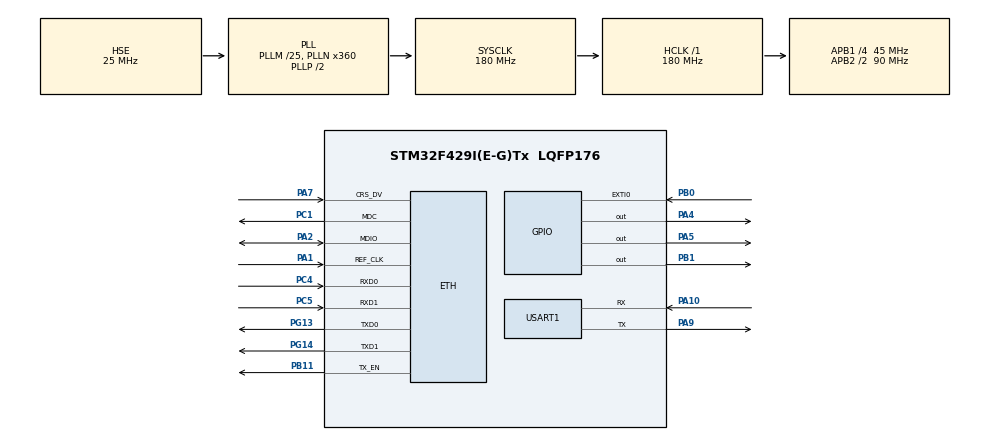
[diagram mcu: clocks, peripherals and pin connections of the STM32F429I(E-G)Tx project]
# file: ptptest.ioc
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ETH.MACAddr=00\:80\:E1\:00\:00\:01
ETH.MediaInterface=ETH_MEDIA_INTERFACE_RMII
ETH.PhyAddress=0
FREERTOS.Tasks01=startTask,-2,128,StartTask,Default,NULL,Dynamic,NULL,NULL
FREERTOS.Timers01=myTimer01,Callback01,osTimerPeriodic,Default,NULL,Dynamic,NULL
FREERTOS.configMAX_TASK_NAME_LEN=25
FREERTOS.configTOTAL_HEAP_SIZE=20480
FREERTOS.configUSE_COUNTING_SEMAPHORES=0
FREERTOS.configUSE_TIMERS=1
LWIP.LWIP_DNS=1
LWIP.Version=v2.0.3_Cube
Mcu.Family=STM32F4
Mcu.Name=STM32F429I(E-G)Tx
Mcu.Package=LQFP176
NVIC.ETH_IRQn=true\:5\:0\:false\:false\:true\:true\:false\:true
NVIC.EXTI0_IRQn=true\:0\:0\:false\:false\:true\:false\:true\:true
NVIC.PriorityGroup=NVIC_PRIORITYGROUP_4
NVIC.TIM1_UP_TIM10_IRQn=true\:0\:0\:false\:false\:true\:false\:false\:true
NVIC.TimeBase=TIM1_UP_TIM10_IRQn
NVIC.TimeBaseIP=TIM1
PA1.Mode=RMII
PA1.Signal=ETH_REF_CLK
PA10.Mode=Asynchronous
PA10.Signal=USART1_RX
PA2.Mode=RMII
PA2.Signal=ETH_MDIO
PA4.Signal=GPIO_Output
PA5.Signal=GPIO_Output
PA7.Mode=RMII
PA7.Signal=ETH_CRS_DV
PA9.Mode=Asynchronous
PA9.Signal=USART1_TX
PB0.Signal=GPXTI0
PB1.Signal=GPIO_Output
PB11.Mode=RMII
PB11.Signal=ETH_TX_EN
PC1.Mode=RMII
PC1.Signal=ETH_MDC
PC14/OSC32_IN.Mode=LSE-External-Oscillator
PC14/OSC32_IN.Signal=RCC_OSC32_IN
PC15/OSC32_OUT.Mode=LSE-External-Oscillator
PC15/OSC32_OUT.Signal=RCC_OSC32_OUT
PC4.Mode=RMII
PC4.Signal=ETH_RXD0
PC5.Mode=RMII
PC5.Signal=ETH_RXD1
PG13.Mode=RMII
PG13.Signal=ETH_TXD0
PG14.Mode=RMII
PG14.Signal=ETH_TXD1
PH0/OSC_IN.Mode=HSE-External-Oscillator
PH0/OSC_IN.Signal=RCC_OSC_IN
PH1/OSC_OUT.Mode=HSE-External-Oscillator
PH1/OSC_OUT.Signal=RCC_OSC_OUT
ProjectManager.HeapSize=0x2000
ProjectManager.StackSize=0x4000
ProjectManager.TargetToolchain=EWARM V8
RCC.48MHZClocksFreq_Value=90000000
RCC.AHBFreq_Value=180000000
RCC.APB1CLKDivider=RCC_HCLK_DIV4
RCC.APB1Freq_Value=45000000
RCC.APB1TimFreq_Value=90000000
RCC.APB2CLKDivider=RCC_HCLK_DIV2
RCC.APB2Freq_Value=90000000
RCC.APB2TimFreq_Value=180000000
RCC.CortexFreq_Value=180000000
RCC.HCLKFreq_Value=180000000
RCC.HSE_VALUE=25000000
RCC.HSI_VALUE=16000000
RCC.PLLM=25
RCC.PLLN=360
RCC.PLLSourceVirtual=RCC_PLLSOURCE_HSE
RCC.SYSCLKFreq_VALUE=180000000
RCC.SYSCLKSource=RCC_SYSCLKSOURCE_PLLCLK
RCC.VCOOutputFreq_Value=360000000
USART1.VirtualMode=VM_ASYNC
VP_FREERTOS_VS_CMSIS_V1.Mode=CMSIS_V1
VP_LWIP_VS_Enabled.Mode=Enabled
VP_SYS_VS_tim1.Mode=TIM1
board=custom

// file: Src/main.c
/* USER CODE BEGIN Header */
/**
  ******************************************************************************
  * @file           : main.c
  * @brief          : Main program body
  ******************************************************************************
  * @attention
  *
  * <h2><center>&copy; Copyright (c) 2019 STMicroelectronics.
  * All rights reserved.</center></h2>
  *
  * This software component is licensed by ST under Ultimate Liberty license
  * SLA0044, the "License"; You may not use this file except in compliance with
  * the License. You may obtain a copy of the License at:
  *                             www.st.com/SLA0044
  *
  ******************************************************************************
  */
/* USER CODE END Header */

#include "main.h"
#include "cmsis_os.h"
#include "lwip.h"

/* USER CODE BEGIN Includes */
//#include <stdio.h>
#include "tcp_client.h"
#include "ptpd.h"
/* USER CODE END Includes */

UART_HandleTypeDef huart1;

osThreadId startTaskHandle;
osTimerId myTimer01Handle;
/* USER CODE BEGIN PV */
osThreadId TCPTaskHandle;
/* USER CODE END PV */

void SystemClock_Config(void);
static void MX_GPIO_Init(void);
static void MX_USART1_UART_Init(void);
void StartTask(void const * argument);
void Callback01(void const * argument);

/* USER CODE BEGIN 0 */
#ifdef __GNUC__
#define PUTCHAR_PROTOTYPE int __io_putchar(int ch)
#else
#define PUTCHAR_PROTOTYPE int fputc(int ch, FILE *f)
#endif
PUTCHAR_PROTOTYPE
{
    //HAL_UART_Transmit(&huart1 , (uint8_t *)&ch, 1 , 0xffff);
	while ((USART1->SR & 0X40) == 0);
    USART1->DR = (uint8_t) ch;
    return ch;
}
/* USER CODE END 0 */

int main(void)
{

  /* MCU Configuration--------------------------------------------------------*/

  /* Reset of all peripherals, Initializes the Flash interface and the Systick. */
  HAL_Init();

  /* Configure the system clock */
  SystemClock_Config();

  /* Initialize all configured peripherals */
  MX_GPIO_Init();
  MX_USART1_UART_Init();

  /* Create the timer(s) */
  /* definition and creation of myTimer01 */
  osTimerDef(myTimer01, Callback01);
  myTimer01Handle = osTimerCreate(osTimer(myTimer01), osTimerPeriodic, NULL);

  /* Create the thread(s) */
  /* definition and creation of startTask */
  osThreadDef(startTask, StartTask, osPriorityLow, 0, 128);
  startTaskHandle = osThreadCreate(osThread(startTask), NULL);

  /* Start scheduler */
  osKernelStart();

  /* We should never get here as control is now taken by the scheduler */

  /* Infinite loop */
  while (1)
  {

  }
}

void SystemClock_Config(void)
{
  RCC_OscInitTypeDef RCC_OscInitStruct = {0};
  RCC_ClkInitTypeDef RCC_ClkInitStruct = {0};

  /** Configure the main internal regulator output voltage
  */
  __HAL_RCC_PWR_CLK_ENABLE();
  __HAL_PWR_VOLTAGESCALING_CONFIG(PWR_REGULATOR_VOLTAGE_SCALE1);
  /** Initializes the CPU, AHB and APB busses clocks
  */
  RCC_OscInitStruct.OscillatorType = RCC_OSCILLATORTYPE_HSE;
  RCC_OscInitStruct.HSEState = RCC_HSE_ON;
  RCC_OscInitStruct.PLL.PLLState = RCC_PLL_ON;
  RCC_OscInitStruct.PLL.PLLSource = RCC_PLLSOURCE_HSE;
  RCC_OscInitStruct.PLL.PLLM = 25;
  RCC_OscInitStruct.PLL.PLLN = 360;
  RCC_OscInitStruct.PLL.PLLP = RCC_PLLP_DIV2;
  RCC_OscInitStruct.PLL.PLLQ = 4;
  if (HAL_RCC_OscConfig(&RCC_OscInitStruct) != HAL_OK)
  {
    Error_Handler();
  }
  /** Activate the Over-Drive mode
  */
  if (HAL_PWREx_EnableOverDrive() != HAL_OK)
  {
    Error_Handler();
  }
  /** Initializes the CPU, AHB and APB busses clocks
  */
  RCC_ClkInitStruct.ClockType = RCC_CLOCKTYPE_HCLK|RCC_CLOCKTYPE_SYSCLK
                              |RCC_CLOCKTYPE_PCLK1|RCC_CLOCKTYPE_PCLK2;
  RCC_ClkInitStruct.SYSCLKSource = RCC_SYSCLKSOURCE_PLLCLK;
  RCC_ClkInitStruct.AHBCLKDivider = RCC_SYSCLK_DIV1;
  RCC_ClkInitStruct.APB1CLKDivider = RCC_HCLK_DIV4;
  RCC_ClkInitStruct.APB2CLKDivider = RCC_HCLK_DIV2;

  if (HAL_RCC_ClockConfig(&RCC_ClkInitStruct, FLASH_LATENCY_5) != HAL_OK)
  {
    Error_Handler();
  }
}

static void MX_USART1_UART_Init(void)
{

  huart1.Instance = USART1;
  huart1.Init.BaudRate = 921600;
  huart1.Init.WordLength = UART_WORDLENGTH_8B;
  huart1.Init.StopBits = UART_STOPBITS_1;
  huart1.Init.Parity = UART_PARITY_NONE;
  huart1.Init.Mode = UART_MODE_TX_RX;
  huart1.Init.HwFlowCtl = UART_HWCONTROL_NONE;
  huart1.Init.OverSampling = UART_OVERSAMPLING_16;
  if (HAL_UART_Init(&huart1) != HAL_OK)
  {
    Error_Handler();
  }

}

static void MX_GPIO_Init(void)
{
  GPIO_InitTypeDef GPIO_InitStruct = {0};

  /* GPIO Ports Clock Enable */
  __HAL_RCC_GPIOC_CLK_ENABLE();
  __HAL_RCC_GPIOH_CLK_ENABLE();
  __HAL_RCC_GPIOA_CLK_ENABLE();
  __HAL_RCC_GPIOB_CLK_ENABLE();
  __HAL_RCC_GPIOG_CLK_ENABLE();

  /*Configure GPIO pin Output Level */
  HAL_GPIO_WritePin(GPIOA, GPIO_PIN_4|GPIO_PIN_5, GPIO_PIN_RESET);

  /*Configure GPIO pin Output Level */
  HAL_GPIO_WritePin(GPIOB, GPIO_PIN_1, GPIO_PIN_RESET);

  /*Configure GPIO pins : PA4 PA5 */
  GPIO_InitStruct.Pin = GPIO_PIN_4|GPIO_PIN_5;
  GPIO_InitStruct.Mode = GPIO_MODE_OUTPUT_PP;
  GPIO_InitStruct.Pull = GPIO_NOPULL;
  GPIO_InitStruct.Speed = GPIO_SPEED_FREQ_LOW;
  HAL_GPIO_Init(GPIOA, &GPIO_InitStruct);

  /*Configure GPIO pin : PB0 */
  GPIO_InitStruct.Pin = GPIO_PIN_0;
  GPIO_InitStruct.Mode = GPIO_MODE_IT_RISING;
  GPIO_InitStruct.Pull = GPIO_NOPULL;
  HAL_GPIO_Init(GPIOB, &GPIO_InitStruct);

  /*Configure GPIO pin : PB1 */
  GPIO_InitStruct.Pin = GPIO_PIN_1;
  GPIO_InitStruct.Mode = GPIO_MODE_OUTPUT_PP;
  GPIO_InitStruct.Pull = GPIO_NOPULL;
  GPIO_InitStruct.Speed = GPIO_SPEED_FREQ_LOW;
  HAL_GPIO_Init(GPIOB, &GPIO_InitStruct);

  /* EXTI interrupt init*/
  HAL_NVIC_SetPriority(EXTI0_IRQn, 0, 0);
  HAL_NVIC_EnableIRQ(EXTI0_IRQn);

}

void StartTask(void const * argument)
{
  /* init code for LWIP */
  MX_LWIP_Init();

  /* USER CODE BEGIN 5 */
  UBaseType_t restStack = 0;
  osDelay(3000);

//  osThreadDef(TCPClient, tcp_client_task, osPriorityNormal, 0, 2048);
//  TCPTaskHandle = osThreadCreate(osThread(TCPClient), NULL);

  osThreadId ptpTaskHandle = ptpd_init();
  /* Infinite loop */
  for(;;)
  {
    restStack = uxTaskGetStackHighWaterMark(ptpTaskHandle);
	//printf("PTP task rest stack:%d byte\n",restStack*4);
    osDelay(20000);
  }
  /* USER CODE END 5 */
}

/* Callback01 function */
void Callback01(void const * argument)
{
}

void HAL_TIM_PeriodElapsedCallback(TIM_HandleTypeDef *htim)
{
  if (htim->Instance == TIM1) {
    HAL_IncTick();
  }
}

void Error_Handler(void)
{
}

/************************ (C) COPYRIGHT STMicroelectronics *****END OF FILE****/
